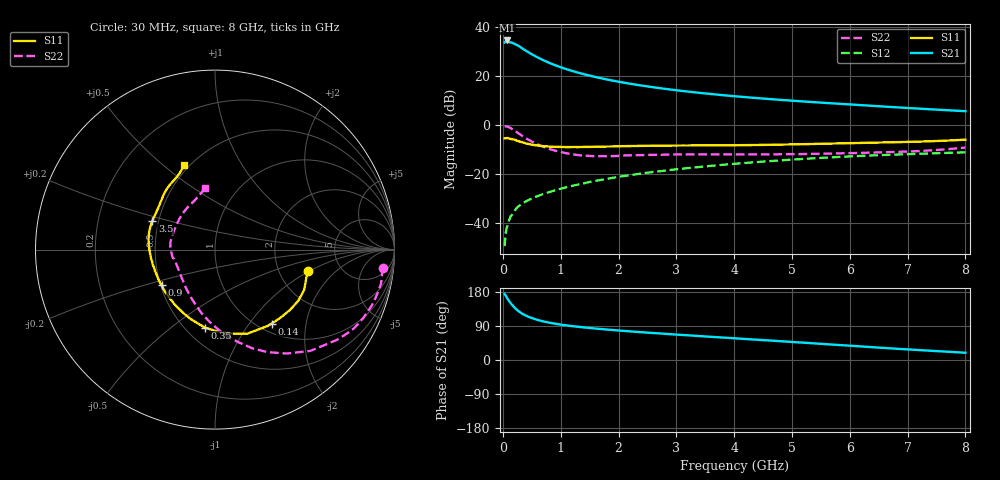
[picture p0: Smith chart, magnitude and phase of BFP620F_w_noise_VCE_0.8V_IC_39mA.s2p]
! Infineon Technologies  Discrete & RF Semiconductors
! BFP620F
! VCE =  0.8 V,  IC =  39 mA
! Common Emitter S-Parameters:  Dec 2014
# GHz  S  MA  R  50
!  f  S11  S21  S12  S22
! GHz  MAG  ANG  MAG  ANG  MAG  ANG  MAG  ANG
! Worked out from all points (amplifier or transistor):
!   95 points, 30 MHz to 8 GHz, reference 50 ohm
!   highest |S21| = 34.7 dB at 70 MHz (marker M1)
!   |S21| within 3 dB of that: start of sweep to 319.7 MHz
!   unconditionally stable (mu >= 1): 2.12 GHz to end of sweep
!   at 300 MHz: K = 0.44, MSG = 32.4 dB, |S12| = -32.8 dB
!   at 3.3 GHz: K = 1.03, MAG = 14.4 dB, |S12| = -17.4 dB
!   at 8 GHz: K = 1.06, MAG = 7.0 dB, |S12| = -11.2 dB
!   lowest NFmin = 1.34 dB at 450 MHz
!   S11 on the Smith chart (normalised r, x): 30 MHz: 2.94, -0.96; 140 MHz: 1.14, -1.29; 350 MHz: 0.62, -0.67; 900 MHz: 0.51, -0.23; 3.5 GHz: 0.46, +0.17; 8 GHz: 0.47, +0.59
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0.03  0.5336 -12.7  49.5 174.3  0.0033 82.8  0.9397 -6.1
0.06  0.545 -24.3  53.72 167.2  0.0072 83.6  0.9395 -14.1
0.07  0.5439 -27.9  54.24 164.4  0.0081 83.9  0.9341 -16.7
0.09  0.5394 -35.3  53.01 159.4  0.0093 77.2  0.919 -22.0
0.12  0.526 -46.3  49.73 153.0  0.012 76.1  0.8881 -29.8
0.14  0.519 -52.6  49.11 149.2  0.0138 73.2  0.8576 -34.5
0.2  0.5019 -68.8  46.16 138.4  0.0174 67.7  0.7752 -46.7
0.25  0.4763 -79.6  43.25 131.4  0.0207 65.4  0.7043 -55.3
0.3  0.456 -88.5  39.88 125.6  0.023 63.6  0.6418 -62.9
0.35  0.4385 -97.1  36.23 120.8  0.0254 62.3  0.5867 -69.4
0.45  0.4088 -109.7  30.75 113.6  0.0293 60.8  0.4974 -80.6
0.6  0.3807 -125.6  24.41 105.8  0.0351 60.6  0.4024 -94.5
0.7  0.3696 -133.7  21.34 101.8  0.0387 61.0  0.3595 -102.4
0.9  0.3577 -146.4  16.94 95.8  0.046 61.7  0.2999 -116.2
1.4  0.3569 -166.6  11.05 86.0  0.0642 62.1  0.2367 -144.8
1.9  0.3649 -179.4  8.152 79.1  0.083 61.3  0.2315 -164.8
2.7  0.3787 166.3  5.745 70.2  0.1128 57.5  0.2463 -179.9
3.5  0.3838 155.4  4.451 62.2  0.1423 52.7  0.251 170.6
4.1  0.3875 148.0  3.82 56.3  0.1641 48.9  0.2504 163.3
5.4  0.4112 135.6  2.941 43.7  0.2093 39.2  0.2577 143.8
6.7  0.4435 123.1  2.354 30.8  0.2462 28.7  0.28 123.2
8  0.5028 110.2  1.927 19.1  0.2762 18.6  0.3458 99.4
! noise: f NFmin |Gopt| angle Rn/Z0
0.45  1.34  0.14  -173  0.16
0.9  1.36  0.14  -172  0.13
1.5  1.37  0.19  -151  0.11
1.8  1.38  0.19  -151  0.12
1.9  1.39  0.19  -150  0.12
2.4  1.41  0.2  214  0.14
3.5  1.47  0.2  220  0.17
5.5  1.61  0.26  246  0.16
6  1.65  0.27  261  0.2
